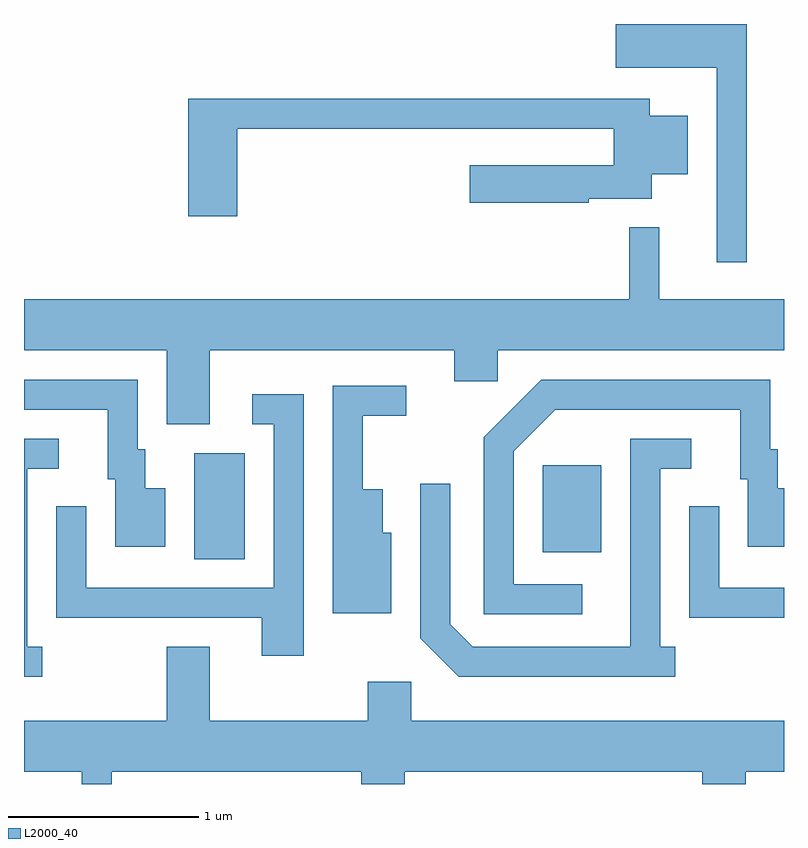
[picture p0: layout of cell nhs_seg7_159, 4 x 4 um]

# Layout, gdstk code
import gdstk
lib = gdstk.Library(unit=1e-6, precision=1e-09)
def R(c, l, rs):  # rectangles x0, y0, x1, y1
    for r in rs: c.add(gdstk.rectangle(r[:2], r[2:], *l))
def P(c, l, *ps):  # polygons
    for p in ps: c.add(gdstk.Polygon(p, *l))
L2000_40 = (2000, 40)

nhs_seg7_159 = lib.new_cell('nhs_seg7_159')
R(nhs_seg7_159, L2000_40, [(190.506,1715.436,190.774,1715.994), (192.341,1715.471,192.649,1715.929)])
P(nhs_seg7_159, L2000_40, [(193.414,1718.252),(192.726,1718.252),(192.726,1718.021),(193.256,1718.021),(193.256,1716.998),(193.414,1716.998)],
  [(190.734,1717.701),(192.716,1717.701),(192.716,1717.509),(191.956,1717.509),(191.956,1717.311),(192.584,1717.311),(192.584,1717.331),(192.914,1717.331),(192.914,1717.461),(193.104,1717.461),(193.104,1717.769),(192.904,1717.769),(192.904,1717.859),(190.476,1717.859),(190.476,1717.241),(190.734,1717.241)],
  [(190.589,1716.536),(191.876,1716.536),(191.876,1716.371),(192.104,1716.371),(192.104,1716.536),(193.611,1716.536),(193.611,1716.804),(192.954,1716.804),(192.954,1717.183),(192.796,1717.183),(192.796,1716.804),(189.611,1716.804),(189.611,1716.536),(190.361,1716.536),(190.361,1716.146),(190.589,1716.146)],
  [(190.354,1715.809),(190.249,1715.809),(190.249,1716.014),(190.209,1716.014),(190.209,1716.379),(189.611,1716.379),(189.611,1716.221),(190.051,1716.221),(190.051,1715.856),(190.091,1715.856),(190.091,1715.501),(190.354,1715.501)],
  [(192.548,1715.304),(192.189,1715.304),(192.189,1716.004),(192.407,1716.221),(193.381,1716.221),(193.381,1715.856),(193.421,1715.856),(193.421,1715.501),(193.611,1715.501),(193.611,1715.809),(193.579,1715.809),(193.579,1716.014),(193.539,1716.014),(193.539,1716.379),(192.334,1716.379),(192.031,1716.077),(192.031,1715.146),(192.548,1715.146)],
  [(191.544,1715.574),(191.499,1715.574),(191.499,1715.804),(191.394,1715.804),(191.394,1716.191),(191.623,1716.191),(191.623,1716.349),(191.236,1716.349),(191.236,1715.151),(191.544,1715.151)],
  [(191.084,1716.304),(190.813,1716.304),(190.813,1716.146),(190.926,1716.146),(190.926,1715.284),(189.939,1715.284),(189.939,1715.713),(189.781,1715.713),(189.781,1715.126),(190.861,1715.126),(190.861,1714.926),(191.084,1714.926)],
  [(193.038,1714.974),(192.959,1714.974),(192.959,1715.911),(193.123,1715.911),(193.123,1716.069),(192.801,1716.069),(192.801,1714.974),(191.972,1714.974),(191.854,1715.092),(191.854,1715.833),(191.696,1715.833),(191.696,1715.019),(191.899,1714.816),(193.038,1714.816)],
  [(189.708,1714.974),(189.629,1714.974),(189.629,1715.911),(189.793,1715.911),(189.793,1716.069),(189.611,1716.069),(189.611,1714.816),(189.708,1714.816)],
  [(193.611,1715.284),(193.269,1715.284),(193.269,1715.713),(193.111,1715.713),(193.111,1715.126),(193.611,1715.126)],
  [(190.074,1714.316),(191.386,1714.316),(191.386,1714.252),(191.614,1714.252),(191.614,1714.316),(193.181,1714.316),(193.181,1714.252),(193.409,1714.252),(193.409,1714.316),(193.611,1714.316),(193.611,1714.584),(191.649,1714.584),(191.649,1714.789),(191.421,1714.789),(191.421,1714.584),(190.589,1714.584),(190.589,1714.974),(190.361,1714.974),(190.361,1714.584),(189.611,1714.584),(189.611,1714.316),(189.916,1714.316),(189.916,1714.252),(190.074,1714.252)])

lib.write_gds('nhs_seg7_159.gds')
